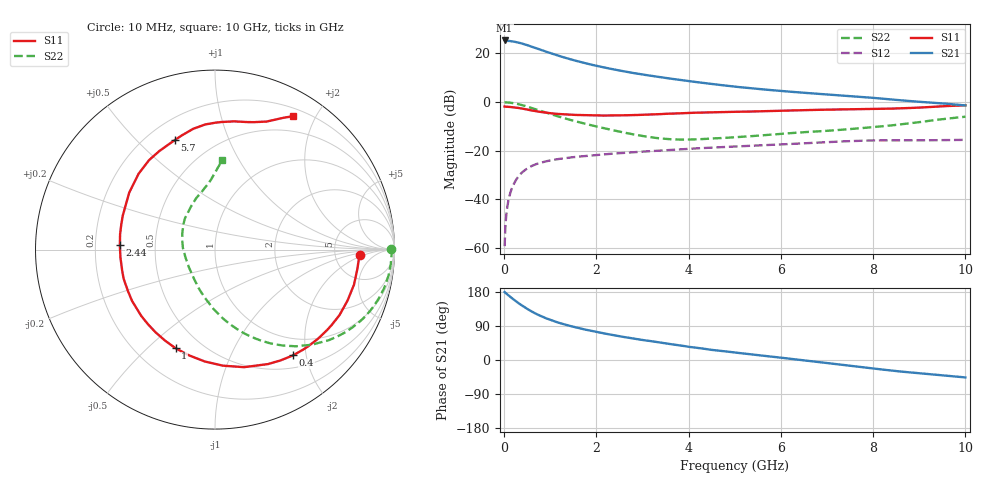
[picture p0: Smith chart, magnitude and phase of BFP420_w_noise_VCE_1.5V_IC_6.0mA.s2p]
! Infineon Technologies  Discrete & RF Semiconductors
! BFP420
! VCE =  1.5 V,  IC =  6.0 mA
! Common Emitter S-Parameters:  Jan 2016
# GHz  S  MA  R  50
!  f  S11  S21  S12  S22
! GHz  MAG  ANG  MAG  ANG  MAG  ANG  MAG  ANG
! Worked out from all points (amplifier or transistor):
!   233 points, 10 MHz to 10 GHz, reference 50 ohm
!   highest |S21| = 25.3 dB at 10 MHz (marker M1)
!   |S21| within 3 dB of that: start of sweep to 667.6 MHz
!   unconditionally stable (mu >= 1): 2.785 GHz to end of sweep
!   at 200 MHz: K = 0.08, MSG = 29.4 dB, |S12| = -34.0 dB
!   at 1.74 GHz: K = 0.68, MSG = 19.1 dB, |S12| = -22.2 dB
!   at 10 GHz: K = 1.11, MAG = 5.1 dB, |S12| = -15.5 dB
!   lowest NFmin = 0.70 dB at 900 MHz
!   S11 on the Smith chart (normalised r, x): 10 MHz: 9.18, -1.73; 400 MHz: 0.70, -1.77; 1 GHz: 0.36, -0.62; 2.44 GHz: 0.31, +0.02; 5.7 GHz: 0.31, +0.65; 10 GHz: 0.30, +1.70
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0.01  0.8098 -2.3  18.39 179.3  0.0011 82.8  0.9792 0.3
0.02  0.8046 -2.9  18 178.2  0.002 87.7  0.9844 -1.6
0.08  0.7983 -11.3  18.02 172.0  0.0083 83.7  0.9793 -6.8
0.15  0.7913 -21.0  17.81 165.0  0.0153 79.6  0.9664 -12.9
0.24  0.7736 -33.1  17.17 156.4  0.0237 73.4  0.9359 -20.2
0.3  0.7589 -41.0  16.73 150.9  0.0289 69.6  0.9108 -24.9
0.4  0.7325 -53.5  15.78 142.5  0.0367 63.8  0.8614 -32.2
0.5  0.7027 -65.2  14.75 134.7  0.0433 58.6  0.8079 -38.8
0.6  0.6748 -76.1  13.71 127.6  0.0488 54.1  0.7543 -44.7
0.8  0.626 -95.2  11.76 115.6  0.0572 47.2  0.654 -54.8
1  0.592 -111.7  10.14 105.8  0.0634 42.0  0.5681 -63.2
1.3  0.559 -131.9  8.237 94.1  0.0703 36.7  0.467 -73.7
1.68  0.539 -152.3  6.562 82.4  0.077 32.4  0.3737 -85.0
2  0.5312 -166.2  5.548 74.1  0.082 29.8  0.3157 -93.7
2.44  0.5307 177.0  4.557 64.1  0.0883 26.7  0.2542 -106.7
3.4  0.566 149.0  3.225 45.7  0.1013 21.2  0.1788 -141.2
4.1  0.6026 133.4  2.622 33.4  0.1111 17.2  0.1707 -169.3
5.1  0.6326 118.0  2.027 18.4  0.1236 11.3  0.1921 161.8
5.7  0.6504 110.0  1.789 10.2  0.131 7.9  0.211 148.8
6.8  0.6924 96.7  1.479 -5.1  0.1471 0.5  0.25 128.9
8.4  0.7334 75.6  1.128 -27.9  0.1634 -14.4  0.3318 102.6
10  0.8595 59.8  0.852 -46.0  0.1676 -24.6  0.4998 85.3
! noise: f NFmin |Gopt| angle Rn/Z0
0.9  0.7  0.16  29  0.14
1.8  1.08  0.06  113  0.12
2.4  1.17  0.11  132  0.13
3  1.26  0.17  176  0.11
4  1.43  0.31  -139  0.13
5  1.82  0.38  -115  0.24
6  2.3  0.43  -99  0.37
